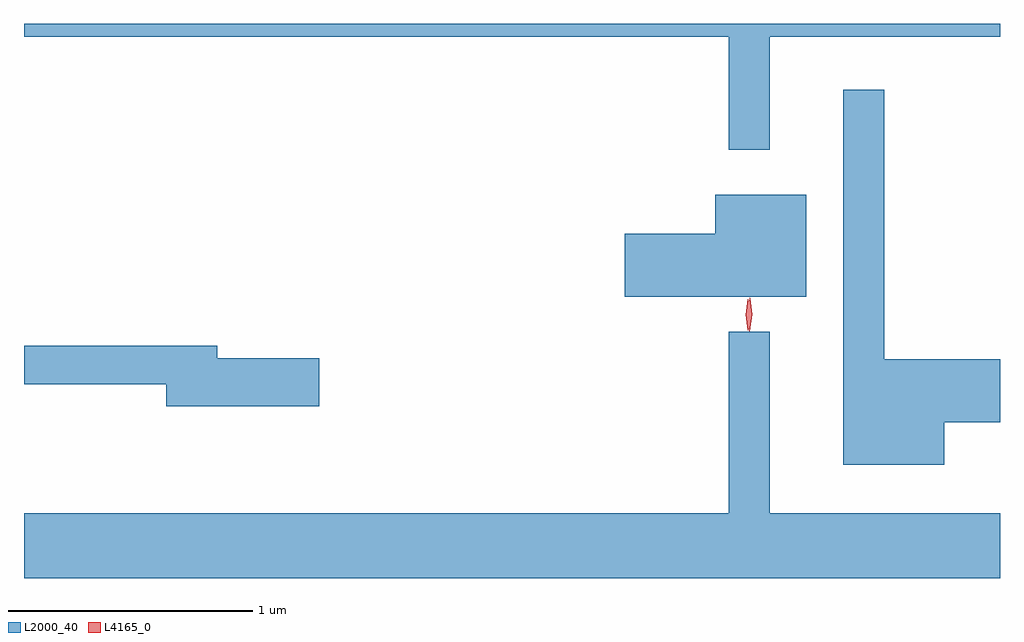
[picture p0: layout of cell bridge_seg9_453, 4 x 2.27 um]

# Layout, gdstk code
import gdstk
lib = gdstk.Library(unit=1e-6, precision=1e-09)
def P(c, l, *ps):  # polygons
    for p in ps: c.add(gdstk.Polygon(p, *l))
L2000_40 = (2000, 40)
L4165_0 = (4165, 0)

bridge_seg9_453 = lib.new_cell('bridge_seg9_453')
P(bridge_seg9_453, L2000_40, [(652.119,1991.816),(653.063,1991.816),(653.063,1991.87),(649.063,1991.87),(649.063,1991.816),(651.951,1991.816),(651.951,1991.353),(652.119,1991.353)],
  [(652.834,1990.236),(653.063,1990.236),(653.063,1990.494),(652.589,1990.494),(652.589,1991.598),(652.421,1991.598),(652.421,1990.061),(652.834,1990.061)],
  [(652.269,1991.169),(651.896,1991.169),(651.896,1991.009),(651.526,1991.009),(651.526,1990.751),(652.269,1990.751)],
  [(653.063,1989.864),(652.119,1989.864),(652.119,1990.608),(651.951,1990.608),(651.951,1989.864),(649.063,1989.864),(649.063,1989.596),(653.063,1989.596)],
  [(650.274,1990.499),(649.854,1990.499),(649.854,1990.549),(649.063,1990.549),(649.063,1990.391),(649.646,1990.391),(649.646,1990.301),(650.274,1990.301)])
P(bridge_seg9_453, L4165_0, [(652.03,1990.613),(652.021,1990.676),(652.03,1990.74),(652.031,1990.74),(652.032,1990.74),(652.041,1990.676),(652.032,1990.613),(652.031,1990.613)],
  [(652.036,1990.61),(652.036,1990.61),(652.028,1990.678),(652.038,1990.745),(652.038,1990.746),(652.039,1990.745),(652.047,1990.678),(652.037,1990.61)])

lib.write_gds('bridge_seg9_453.gds')
